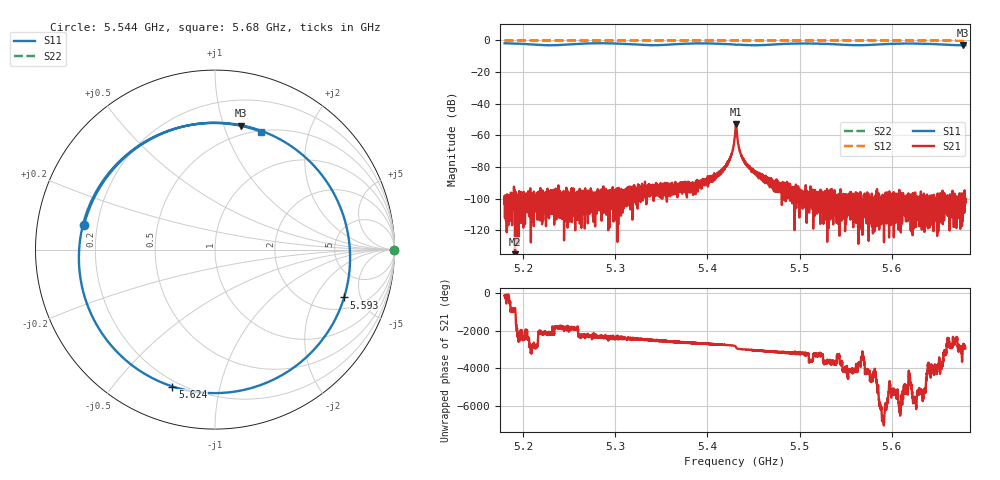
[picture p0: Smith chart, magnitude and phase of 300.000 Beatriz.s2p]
# HZ S DB R 50
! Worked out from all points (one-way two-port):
!   5000 points, 5.18 GHz to 5.68 GHz, reference 50 ohm
!   highest |S21| = -52.83 dB at 5.431 GHz (marker M1); lowest = -143.0 dB at 5.191 GHz (marker M2)
!   lowest |S11| = -3.0 dB at 5.678 GHz (marker M3), VSWR 5.77, Z = 20.8 + j57 ohm
!   |S11| at or under -10 dB: nowhere
!   |S22| runs from 0.0 to 0.0 dB; largest |S21 - S12| = 1
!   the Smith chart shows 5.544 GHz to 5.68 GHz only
!   S11 on the Smith chart (normalised r, x): 5.544 GHz: 0.15, +0.09; 5.593 GHz: 2.75, -3.56; 5.624 GHz: 0.17, -0.72; 5.68 GHz: 0.51, +1.33
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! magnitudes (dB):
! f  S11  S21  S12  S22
! 5.18 GHz  -1.8  -102.2  0.0  0.0
! 5.191 GHz  -1.9  -143.0  0.0  0.0
! 5.263 GHz  -2.0  -99.6  0.0  0.0
! 5.347 GHz  -3.0  -94.0  0.0  0.0
! 5.418 GHz  -2.2  -81.1  0.0  0.0
! 5.421 GHz  -2.3  -78.8  0.0  0.0
! 5.425 GHz  -2.4  -73.7  0.0  0.0
! 5.427 GHz  -2.4  -70.0  0.0  0.0
! 5.43 GHz  -2.6  -59.6  0.0  0.0
! 5.431 GHz  -2.8  -52.8  0.0  0.0
! 5.433 GHz  -2.6  -61.9  0.0  0.0
! 5.435 GHz  -2.7  -69.4  0.0  0.0
! 5.438 GHz  -2.8  -73.3  0.0  0.0
! 5.446 GHz  -3.0  -79.8  0.0  0.0
! 5.513 GHz  -1.9  -98.5  0.0  0.0
! 5.544 GHz  -2.6  -103.8  0.0  0.0
! 5.593 GHz  -2.3  -100.0  0.0  0.0
! 5.597 GHz  -2.2  -108.6  0.0  0.0
! 5.624 GHz  -2.0  -104.6  0.0  0.0
! 5.678 GHz  -3.0  -96.6  0.0  0.0
! 5.68 GHz  -3.0  -102.5  0.0  0.0
! 5.68 GHz  -3.0  -100.2  0.0  0.0
